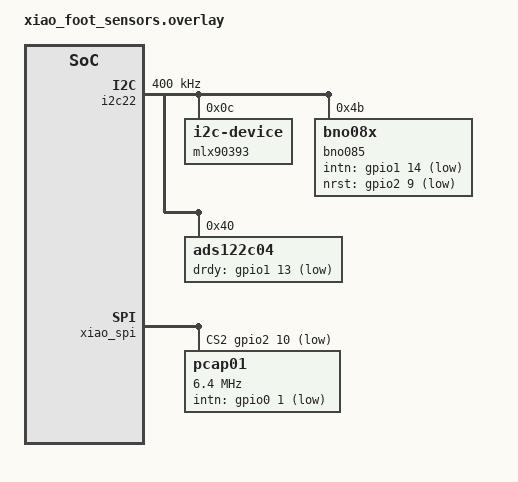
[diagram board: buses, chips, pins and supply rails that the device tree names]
/*
 * Common foot sensor node hardware:
 * I2C sensors (BNO085, ADS122C04, MLX90393) + ADC + PCAP01.
 */

#include "../../../common/boards/xiao_base.overlay"

/* I2C22: foot sensors */
&i2c22 {
	status = "okay";
	clock-frequency = <I2C_BITRATE_FAST>;
	mlx90393: mlx90393@c {
		compatible = "i2c-device";
		reg = <0x0c>;
	};
	bno085: bno085@4b {
		compatible = "bno08x";
		reg = <0x4b>;
		intn-gpios = <&gpio1 14 (GPIO_ACTIVE_LOW)>;
		nrst-gpios = <&gpio2 9 (GPIO_ACTIVE_LOW | GPIO_PULL_UP)>;
	};
	ads122c04: ads122c04@40 {
		compatible = "ads122c04";
		reg = <0x40>;
		drdy-gpios = <&gpio1 13 (GPIO_ACTIVE_LOW | GPIO_PULL_UP)>;
	};
};

/* I2C30 only hosts the onboard LSM6DSO, which is not used on foot nodes. */
&i2c30 { status = "disabled"; };


/* SPI: PCAP01 capacitance sensor */
&xiao_spi {
	status = "okay";
	compatible = "nordic,nrf-spim";
	cs-gpios = <&gpio1 12 GPIO_ACTIVE_LOW>, <&gpio2 6 GPIO_ACTIVE_LOW>, <&gpio2 10 GPIO_ACTIVE_LOW>;
	icm42688: icm42688@0 {
		status = "disabled";
		reg = <0>;
	};
	pcap01: pcap01@2 {
		status = "okay";
		compatible = "pcap01";
		reg = <2>;
		spi-max-frequency = <6400000>;
		intn-gpios = <&gpio0 1 GPIO_ACTIVE_LOW>;
	};
};
